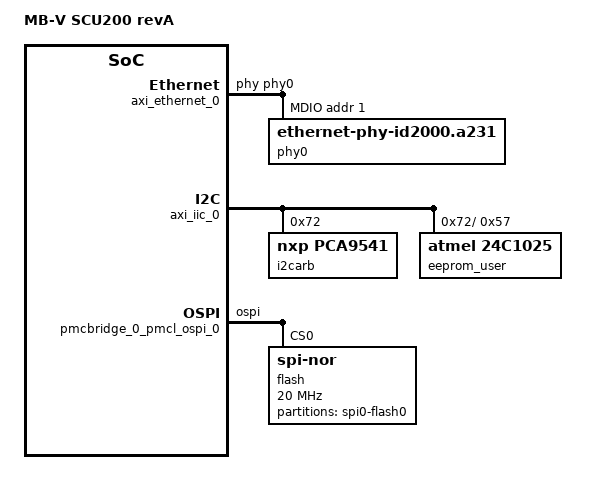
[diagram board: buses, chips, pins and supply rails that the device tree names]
// SPDX-License-Identifier: GPL-2.0
/*
 * dts file for AMD SCU200 revA
 *
 * (C) Copyright 2025-2026, Advanced Micro Devices, Inc.
 *
 * Michal Simek <michal.simek@amd.com>
 */


/ {
	model = "MB-V SCU200 revA";
	compatible = "amd,mbv-scu200-revA", "amd,mbv-scu200", "amd,mbv";

	chosen {
		bootargs = "console=ttyUL0,115200 earlycon root=/dev/ram0 rw";
	};
};

&axi_ethernet_0 {
	phy-handle = <&phy0>;

	mdio {
		#address-cells = <1>;
		#size-cells = <0>;

		phy0: ethernet-phy@1 { /* u42 - DP83867 */
			#phy-cells = <1>;
			compatible = "ethernet-phy-id2000.a231";
			reg = <1>;
			ti,dp83867-rxctrl-strap-quirk;
			/* reset-gpios = <&gpio 77 GPIO_ACTIVE_LOW>; TBD */
			reset-assert-us = <2500>;
			reset-deassert-us = <500>;
		};
	};
};

&axi_iic_0 {
	#address-cells = <1>;
	#size-cells = <0>;

	i2carb: i2c-arbitrator@72 { /* u75 */
		compatible = "nxp,pca9541";
		reg = <0x72>;

		i2carb1: i2c-arb {
			#address-cells = <1>;
			#size-cells = <0>;

			eeprom_user: eeprom@57 { /* also at address 0x5f - 1024Kbit */
				bootph-all;
				compatible = "atmel,24c1025"; /* st 24FC1025T */
				reg = <0x57>;
			};
		};
	};
};

&pmcbridge_0_pmcl_ospi_0 {
	#address-cells = <1>;
	#size-cells = <0>;
	clocks = <&pmc_clk 2>;
	resets = <&pmc_reset 2>;
	pinctrl-names = "default";
	pinctrl-0 = <&ospi_default>;
	cdns,fifo-depth = <256>;
	cdns,fifo-width = <4>;

	flash@0 {
		bootph-all;
		compatible = "jedec,spi-nor"; /* mt35xu01g */
		reg = <0>;
		#address-cells = <1>;
		#size-cells = <1>;
		cdns,read-delay = <0>;
		cdns,tshsl-ns = <0>;
		cdns,tsd2d-ns = <0>;
		cdns,tchsh-ns = <10>;
		cdns,tslch-ns = <10>;
		spi-tx-bus-width = <8>;
		spi-rx-bus-width = <8>;
		spi-max-frequency = <20000000>;
		no-wp;

		/* reset-gpios = <&gpio 0 GPIO_ACTIVE_LOW>; TBD */
		partition@0 {
			label = "spi0-flash0";
			reg = <0 0x8000000>;
		};
	};
};

&pmcbridge_0_pmcl_global_0 {
	clocks = <&clk_cpu_0>;
	clock-names = "ref";
	bootph-all;
	pmc_reset: reset-controller {
	        compatible = "amd,pmc-reset";
	        #reset-cells = <1>;
	        bootph-all;
	};

	pmc_clk: clock-controller {
	        compatible = "amd,pmc-clk";
	        #clock-cells = <1>;
	        bootph-all;
	};

	pmc_pinctrl: pinctrl {
	        compatible = "amd,pmc-pinctrl";
	        bootph-all;
	        ospi_default: ospi-state {
	                groups = "ospi";
	                function = "ospi";
	                bootph-all;
	        };
	};
	pmc_nvmem: nvmem {
		compatible = "amd,pmc-nvmem";

		nvmem-layout {
			compatible = "fixed-layout";
			#address-cells = <1>;
			#size-cells = <1>;
			reset_reason: reset-reason@70 {
				reg = <0x70 0x4>;
			};
			last_reset_reason: last-reset-reason@74 {
				reg = <0x74 0x4>;
			};
			boot_mode_por: boot-mode-por@78 {
				reg = <0x78 0x4>;
			};
			boot_mode_user: boot-mode-user@7c {
				reg = <0x7c 0x4>;
			};
			global_gen_storage0: global-gen-storage0@a0 {
				reg = <0xa0 0x4>;
			};
			global_gen_storage1: global-gen-storage1@a4 {
				reg = <0xa4 0x4>;
			};
			global_gen_storage2: global-gen-storage2@a8 {
				reg = <0xa8 0x4>;
			};
			global_gen_storage3: global-gen-storage3@ac {
				reg = <0xac 0x4>;
			};
			global_gen_storage4: global-gen-storage4@b0 {
				reg = <0xb0 0x4>;
			};
			global_gen_storage5: global-gen-storage5@b4 {
				reg = <0xb4 0x4>;
			};
			global_gen_storage6: global-gen-storage6@b8 {
				reg = <0xb8 0x4>;
			};
			global_gen_storage7: global-gen-storage7@bc {
				reg = <0xbc 0x4>;
			};
			pers_glob_gen_storage0: pers-glob-gen-storage0@c0 {
				reg = <0xc0 0x4>;
			};
			pers_glob_gen_storage1: pers-glob-gen-storage1@c4 {
				reg = <0xc4 0x4>;
			};
			pers_glob_gen_storage2: pers-glob-gen-storage2@c8 {
				reg = <0xc8 0x4>;
			};
			pers_glob_gen_storage3: pers-glob-gen-storage3@cc {
				reg = <0xcc 0x4>;
			};
			pers_glob_gen_storage4: pers-glob-gen-storage4@d0 {
				reg = <0xd0 0x4>;
			};
			pers_glob_gen_storage5: pers-glob-gen-storage5@d4 {
				reg = <0xd4 0x4>;
			};
			pers_glob_gen_storage6: pers-glob-gen-storage6@d8 {
				reg = <0xd8 0x4>;
			};
			pers_glob_gen_storage7: pers-glob-gen-storage7@dc {
				reg = <0xdc 0x4>;
			};
			pmc_fw_auth_hash0: pmc-fw-auth-hash0@160 {
				reg = <0x160 0x4>;
			};
			pmc_fw_auth_hash1: pmc-fw-auth-hash1@164 {
				reg = <0x164 0x4>;
			};
			pmc_fw_auth_hash2: pmc-fw-auth-hash2@168 {
				reg = <0x168 0x4>;
			};
			pmc_fw_auth_hash3: pmc-fw-auth-hash3@16c {
				reg = <0x16c 0x4>;
			};
			pmc_fw_auth_hash4: pmc-fw-auth-hash4@170 {
				reg = <0x170 0x4>;
			};
			pmc_fw_auth_hash5: pmc-fw-auth-hash5@174 {
				reg = <0x174 0x4>;
			};
			pmc_fw_auth_hash6: pmc-fw-auth-hash6@178 {
				reg = <0x178 0x4>;
			};
			pmc_fw_auth_hash7: pmc-fw-auth-hash7@17c {
				reg = <0x17c 0x4>;
			};
			pmc_fw_auth_hash8: pmc-fw-auth-hash8@180 {
				reg = <0x180 0x4>;
			};
			pmc_fw_auth_hash9: pmc-fw-auth-hash9@184 {
				reg = <0x184 0x4>;
			};
			pmc_fw_auth_hash10: pmc-fw-auth-hash10@188 {
				reg = <0x188 0x4>;
			};
			pmc_fw_auth_hash11: pmc-fw-auth-hash11@18c {
				reg = <0x18c 0x4>;
			};
		};
	};
};
